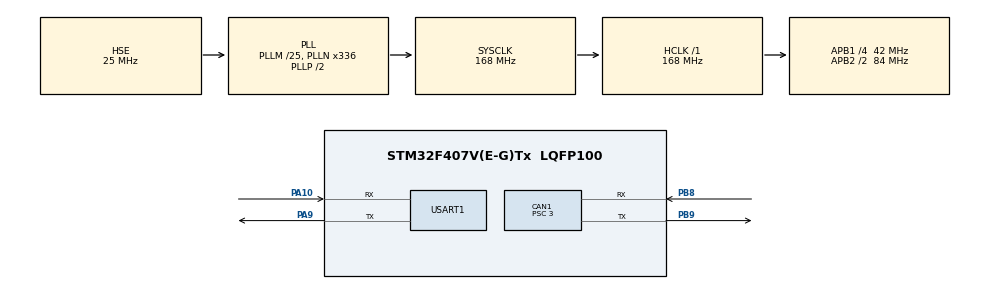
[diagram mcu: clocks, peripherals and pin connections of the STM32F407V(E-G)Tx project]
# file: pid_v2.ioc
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CAN1.ABOM=ENABLE
CAN1.BS1=CAN_BS1_11TQ
CAN1.BS2=CAN_BS2_2TQ
CAN1.CalculateBaudRate=1000000
CAN1.CalculateTimeBit=1000
CAN1.CalculateTimeQuantum=71.42857142857143
CAN1.NART=ENABLE
CAN1.Prescaler=3
Dma.Request0=USART1_RX
Dma.Request1=USART1_TX
Dma.USART1_RX.0.Direction=DMA_PERIPH_TO_MEMORY
Dma.USART1_RX.0.FIFOMode=DMA_FIFOMODE_DISABLE
Dma.USART1_RX.0.Instance=DMA2_Stream2
Dma.USART1_RX.0.MemDataAlignment=DMA_MDATAALIGN_BYTE
Dma.USART1_RX.0.MemInc=DMA_MINC_ENABLE
Dma.USART1_RX.0.Mode=DMA_NORMAL
Dma.USART1_RX.0.PeriphDataAlignment=DMA_PDATAALIGN_BYTE
Dma.USART1_RX.0.PeriphInc=DMA_PINC_DISABLE
Dma.USART1_RX.0.Priority=DMA_PRIORITY_LOW
Dma.USART1_TX.1.Direction=DMA_MEMORY_TO_PERIPH
Dma.USART1_TX.1.FIFOMode=DMA_FIFOMODE_DISABLE
Dma.USART1_TX.1.Instance=DMA2_Stream7
Dma.USART1_TX.1.MemDataAlignment=DMA_MDATAALIGN_BYTE
Dma.USART1_TX.1.MemInc=DMA_MINC_ENABLE
Dma.USART1_TX.1.Mode=DMA_NORMAL
Dma.USART1_TX.1.PeriphDataAlignment=DMA_PDATAALIGN_BYTE
Dma.USART1_TX.1.PeriphInc=DMA_PINC_DISABLE
Dma.USART1_TX.1.Priority=DMA_PRIORITY_LOW
FREERTOS.Tasks01=defaultTask,0,128,StartDefaultTask,Default,NULL,Dynamic,NULL,NULL
FREERTOS.configMAX_PRIORITIES=5
FREERTOS.configUSE_NEWLIB_REENTRANT=1
Mcu.Family=STM32F4
Mcu.Name=STM32F407V(E-G)Tx
Mcu.Package=LQFP100
NVIC.CAN1_RX0_IRQn=true\:5\:0\:false\:false\:true\:true\:true\:true\:true
NVIC.DMA2_Stream2_IRQn=true\:5\:0\:false\:false\:true\:true\:false\:true\:true
NVIC.DMA2_Stream7_IRQn=true\:5\:0\:false\:false\:true\:true\:false\:true\:true
NVIC.PriorityGroup=NVIC_PRIORITYGROUP_4
NVIC.USART1_IRQn=true\:5\:0\:false\:false\:true\:true\:false\:true\:true
PA10.Mode=Asynchronous
PA10.Signal=USART1_RX
PA13.Mode=Serial_Wire
PA13.Signal=SYS_JTMS-SWDIO
PA14.Mode=Serial_Wire
PA14.Signal=SYS_JTCK-SWCLK
PA9.Mode=Asynchronous
PA9.Signal=USART1_TX
PB8.Mode=CAN_Activate
PB8.Signal=CAN1_RX
PB9.Mode=CAN_Activate
PB9.Signal=CAN1_TX
PH0-OSC_IN.Mode=HSE-External-Oscillator
PH0-OSC_IN.Signal=RCC_OSC_IN
PH1-OSC_OUT.Mode=HSE-External-Oscillator
PH1-OSC_OUT.Signal=RCC_OSC_OUT
ProjectManager.HeapSize=0x200
ProjectManager.StackSize=0x400
ProjectManager.TargetToolchain=STM32CubeIDE
RCC.48MHZClocksFreq_Value=84000000
RCC.AHBFreq_Value=168000000
RCC.APB1CLKDivider=RCC_HCLK_DIV4
RCC.APB1Freq_Value=42000000
RCC.APB1TimFreq_Value=84000000
RCC.APB2CLKDivider=RCC_HCLK_DIV2
RCC.APB2Freq_Value=84000000
RCC.APB2TimFreq_Value=168000000
RCC.CortexFreq_Value=168000000
RCC.HCLKFreq_Value=168000000
RCC.HSE_VALUE=25000000
RCC.HSI_VALUE=16000000
RCC.LSE_VALUE=32768
RCC.PLLM=25
RCC.PLLN=336
RCC.PLLSourceVirtual=RCC_PLLSOURCE_HSE
RCC.SYSCLKFreq_VALUE=168000000
RCC.SYSCLKSource=RCC_SYSCLKSOURCE_PLLCLK
RCC.VCOOutputFreq_Value=336000000
USART1.VirtualMode=VM_ASYNC
VP_FREERTOS_VS_CMSIS_V1.Mode=CMSIS_V1
board=custom

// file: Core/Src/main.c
/* USER CODE BEGIN Header */
/**
  ******************************************************************************
  * @file           : main.c
  * @brief          : Main program body
  ******************************************************************************
  * @attention
  *
  * Copyright (c) 2026 STMicroelectronics.
  * All rights reserved.
  *
  * This software is licensed under terms that can be found in the LICENSE file
  * in the root directory of this software component.
  * If no LICENSE file comes with this software, it is provided AS-IS.
  *
  ******************************************************************************
  */
/* USER CODE END Header */
#include "main.h"
#include "cmsis_os.h"
#include "can.h"
#include "dma.h"
#include "usart.h"
#include "gpio.h"

/* USER CODE BEGIN Includes */
#include <string.h>
#include <stdlib.h>
#include <math.h>
/* USER CODE END Includes */

/* USER CODE BEGIN PTD */
/* ============================================================================
 *  pid_v2 —— M3508 P19 + C620 单轴位置伺服
 *  ---------------------------------------------------------------------------
 *  结构（从外到内，每 1ms 跑一拍）：
 *
 *      目标角度 -->[参考轨迹整形]--> ref_pos / ref_vel
 *                                      |
 *                                      v
 *      实测输出角 -->[位置环 P + 速度前馈/阻尼]--> 速度指令
 *                                      |
 *                                      v
 *      实测转速   -->[速度环 PID + 前馈]--> 电流指令 --> C620 (0x200)
 *
 *  三条针对「电机抖」的设计，缺一不可：
 *    1) 参考轨迹整形：目标不直接给位置环，而是先过一条加速度受限、
 *       带制动曲线、单步不越目标的轨迹。位置环跟的是一条平滑曲线，
 *       不会因为目标跳变打出电流尖峰。
 *    2) 微分对测量值求导：d 项用 -Kd×(本次转速 - 上次转速)，
 *       而不是对误差求导，彻底消除 derivative kick。
 *    3) 到位保持状态机：误差进入 ±pos_db 后位置环 P 清零，只留一条
 *       「慢积分」把保持电流调到刚好顶住负载。这是压掉静摩擦粘滑极限环的
 *       关键——只加死区不够，积分器里残留的量还会把电机推出死区。
 *
 *  实测指标（500Hz 录波，默认参数，M3508 P19 + C620）：
 *    上升时间 10-90%   : 44 ms (20°) / 50 ms (25°) / 66 ms (45°)
 *                        92 ms (90°)
 *    超调量           : ≤ 0.20 %
 *    调节时间 ±0.1°   : 126~292 ms
 *    稳态误差         : ≤ 0.055°
 *    双向重复精度     : ≤ 0.07°（同一角度从两侧逼近的落点差）
 *    到位静置抖动     : 8 个位置 × 3 轮共 24 次测量，多数 0.0000°，
 *                       最差 0.074°（27 个细计数，周期约 1s 的极慢蠕动）
 *
 *  串口（USART1, 115200 8N1）命令，全部以 '!' 结尾：
 *    =角度!        设定目标角度（度，0~359）
 *    $名字=值!     在线改参数，立即生效，见 param_tbl[]
 *    $wave=0..3!   切换波形通道组
 *  波形按 VOFA+ JustFloat 协议，2 通道 × float32 小端 + 帧尾 00 00 80 7F
 * ==========================================================================*/

/* ============================================================================
 *  运行状态变量
 *  ---------------------------------------------------------------------------
 *  坐标系约定（与上一版一致，改动它会让上位机的角度含义全部错位）：
 *    · 「转子角度」由 C620 上报，0~8191 对应转子机械一圈；
 *    · 「输出轴角度」= 转子累计角度 ÷ 减速比，再对 8192 取模，
 *      0~8191 对应减速后的 0~360°，8192 个 count 铺满输出轴一整圈；
 *    · 上电瞬间的输出轴角度被定义为 0°，即整个坐标系是「相对上电位置」的，
 *      所以上电后目标默认为 0 就等于「原地保持」，不会突然窜到别处。
 * ==========================================================================*/

/* ---------- 1. 电机反馈（每 1ms 由 0x203 帧刷新）---------- */
static int16_t jiao_du = 0;     /* 转子机械角度：0~8191，8192 = 转子转一圈 */
static int16_t su_du   = 0;     /* 转子转速：rpm，正负号表示转向 */

/* ---------- 2. 角度换算：转子 -> 输出轴 ---------- */
static int64_t rotor_total = 0; /* 转子累计角度（count），只用来算输出轴角度，
                                 * 不参与位置环。跨圈时靠它保证不丢圈。
                                 * 用 64 位：int32 在 3000rpm 下连续转约 87 分钟
                                 * 就会溢出，溢出后角度跳变，位置环失控 */
static int16_t rotor_last  = 0; /* 上一拍的转子原始角度，用来算这一拍转了多少 */
static int16_t out_angle   = 0; /* 输出轴单圈角度：0~8191 对应 0~360° */
static int32_t out_cnt32   = 0; /* 输出轴连续角度（int32 截断域）。
                                 * 取 int32 而不是直接用 int64：控制环里所有位置量
                                 * 都落在同一个 32 位域里，相减不会出现 64 位跨字
                                 * 读写的原子性问题，跨圈时差值依然正确。
                                 * 输出轴连续转 28 小时才会溢出，位置伺服不会走到那 */

/* ---------- 3. 目标与参考轨迹 ---------- */
static volatile int32_t target_raw = 0; /* 目标输出轴角度（count），0~8191。
                                 * UART 中断里写、控制任务里读，必须 volatile */
static int32_t target_cnt = 0;  /* 与 out_cnt32 同一域的「最近等价目标」。
                                 * 目标 350°、当前 10° 时不会傻走 -340°，
                                 * 而是在连续域里落到 +20° 那一侧 */
static int32_t target_seen = -1;/* 上一次处理过的 target_raw，用来检测新命令 */

static float ref_pos = 0.0f;    /* 参考位置（输出轴 count，float 保留小数，
                                 * 否则每拍增量不足 1 count 时会被截断成 0 而卡死） */
static float ref_vel = 0.0f;    /* 参考速度（转子 rpm），由轨迹发生器给出 */

/* ---------- 4. 可在线整定的参数 ---------- */
/* 全部做成 float 并集中在一张表里，串口按名字改，改完立即生效，不用重新烧录。
 * 表见下方 param_tbl[]，合法范围也写在那里面，越界值会被夹到边界而不是拒绝。 */
static float pos_Kp    = 0.75f;   /* 位置环比例：rpm / (1/16 输出轴count)。
                                   * 等效于旧单位下的 12 rpm/count */
static float pos_Kd    = 0.5f;    /* 位置环速度增益：对「参考速度 - 实测转速」加权。
                                   * 参考速度归零后它就退化成上一版的 -Kd×实测转速，
                                   * 也就是纯阻尼项，治到点后来回振荡 */
static float speed_max = 3000.0f; /* 位置环输出的速度指令上限（rpm） */

static float speed_Kp  = 15.0f;   /* 速度环比例：电流count / rpm。
                                   * 实测 6 → 调节时间 734ms，15 → 164ms，
                                   * 28 开始振荡（超调 3.4%），15~20 是安全区 */
static float speed_Kd  = 20.0f;   /* 速度环微分：抑制超调。12 → 164ms，20 → 158ms，
                                   * 再大没有收益 */
static float speed_Ki  = 0.15f;   /* 速度环积分：每 1ms、每 1rpm 误差贡献的电流count。
                                   * 按 CTRL_PERIOD_MS 标定，改周期必须重调。
                                   * 这个值决定「到位后最后 0.1° 收得多快」：
                                   * 0.008 时要 1668ms 才爬进去（静摩擦粘滑）。
                                   * 实测 0.08 / 0.15 / 0.25 三档，调节时间几乎一样
                                   * （144~298ms），差别全在「静置后还会不会动」：
                                   *   0.08 → 残余 1~7 个细计数的蠕动（0.02°）
                                   *   0.15 → 8 位置全部 0.0000°，稳态误差也略小
                                   *   0.25 → 抖动仍是 0，但调节时间变长，无收益
                                   * 取 0.15。上一版「0.05 就会振荡」的结论只对
                                   * 旧结构成立——那时光滑轨迹整形和到位保持都还没有 */
static float speed_Kf  = 0.0f;    /* 速度前馈：电流count / rpm。
                                   * 直接按目标转速给一份电流，把积分项从「顶住摩擦」
                                   * 的活里解放出来。默认关闭，识别出摩擦量级后再开 */
static float i_max     = 3000.0f; /* 积分项单独限幅，防止累到退不回来 */
static float cur_max   = 8000.0f; /* 电流总限幅，约 ±9.8A（16384 = 20A） */

static float prof_v    = 3000.0f; /* 轨迹速度上限（rpm），一般等于 speed_max */
static float prof_a    = 50000.0f;/* 轨迹加速度上限（rpm/s）。这是「快而不冲」的总闸门：
                                   * 调大=更激进，调小=更柔和。它同时决定
                                   * 减速从多远开始——制动距离 = v²/(2a) */
static float prof_en   = 1.0f;    /* 轨迹整形开关：1=启用，0=目标直通（退化成阶跃） */
static float pos_db    = 0.02f;   /* 到位死区（度）。只在轨迹已经走完时生效：
                                   * 误差小于它就进入「保持」，位置环输出清零。
                                   * 不加这个，小误差区靠积分慢慢顶，顶过静摩擦就
                                   * 蹦一下，形成 0.1° 量级、周期几百毫秒的往复——
                                   * 也就是「电机在抖」。死区把积分饿死，电机停住不动。
                                   * 代价是稳态误差被限制在 ±3×pos_db 以内（迟滞带） */
static float hold_ki    = 0.005f;  /* 保持期「位置积分」增益：每 1ms、每 1 个细计数误差，
                                   * 给保持电流加多少 count。
                                   * 为什么保持期还要积分：维持静止所需的电流随
                                   * 负载变化（实测 0° 要几百 count，180° 只要几十），
                                   * 而进保持瞬间的积分值是「刚顶开静摩擦」的电流，
                                   * 比需要的多，直接冻住就会推着电机慢慢爬出去。
                                   * 所以让位置误差自己去调这个电流——多了误差变负、
                                   * 电流自己降下来，少了误差变正、电流自己补上去。
                                   * 关键是慢：慢到电流变化本身激不起抖动 */
static float hold_rt    = 0.60f;  /* 进保持瞬间，把积分值一次性乘上这个系数。
                                   * 进保持时 i_term 是「刚顶开静摩擦」的电流
                                   * （= 负载 + 静摩擦），维持静止只需要负载。
                                   * 先按比例砍一刀，让电流一步落到目标附近，
                                   * 剩下的残差交给下面的慢积分去修——
                                   * 这样慢积分不用长途跋涉，也就不会振荡。
                                   * 1.0 = 不砍（慢积分要自己从顶开值降下来，会振荡） */
static float hold_rmax  = 0.75f;  /* 保持期电流变化率上限（count/ms）。
                                   * 它决定这个慢积分会不会自己变成振荡器：
                                   * 变化率 × 机械响应延迟 = 电流过冲量，
                                   * 只要过冲量小于静摩擦，电机就不会动 */
static float wave_sel  = 0.0f;    /* 波形通道组：0=误差/角度 1=速度指令/实测 2=参考/实际 3=电流/转速 4=积分/电流 */

/* ---------- 5. 运行时状态 ---------- */
static float   i_term     = 0.0f; /* 速度环积分累加器 */
static int16_t speed_cmd  = 0;    /* 位置环输出，也就是给速度环的目标转速（rpm） */
static int16_t cur_out    = 0;    /* 本拍下发的电流指令，调试时看它 */
static int16_t speed_prev = 0;    /* 上一拍实测转速，速度环微分用 */
static float   pos_err    = 0.0f; /* 目标 - 实际（1/16 count），只用于波形显示。
                                   * 必须是 float：满量程 4096×16 会溢出 int16 */

static uint16_t fb_age_ms = 0;    /* 距离上一帧 CAN 反馈过去了多少 ms */
static uint8_t  fb_seen   = 0;    /* 是否收到过至少一帧反馈 */
static uint8_t  ang_init  = 0;    /* 角度基准是否已对齐到首帧真实反馈 */
static uint8_t  ctrl_init = 0;    /* 控制环是否已完成首拍初始化 */
static uint8_t  prof_done = 0;    /* 参考轨迹是否已停在目标上（用于到位死区） */
static uint8_t  hold_state = 0;   /* 到位保持状态：进入后位置环 P 清零，只留慢积分调保持电流 */

/* ---------- 6. 串口命令接收（全在中断里用）---------- */
static uint8_t rxByte;          /* UART 中断里收到的单个字节 */
static uint8_t rxBuf[32];       /* 命令帧缓冲 */
static uint8_t rxLen = 0;       /* 已接收的字节数 */

/* ---------- 7. 波形输出 ---------- */
static volatile uint8_t uart_busy = 0; /* 波形发送忙标志：中断发送还没完成时不能重填缓冲 */
static uint8_t  jf[12];         /* JustFloat 发送缓冲：2 通道 x 4 字节 + 4 字节帧尾 */

/* ---------- 8. CAN 发送帧（每 1ms 一次）---------- */
/* 提到文件作用域是为了避免每 1ms 在栈上重新构造一次结构体 */
static CAN_TxHeaderTypeDef txHeader;
static uint32_t            txMailbox;

/* ---------- 9. 参数表 ---------- */
typedef struct
{
  const char *name;   /* 串口里用的名字，区分大小写 */
  float      *addr;   /* 指向真正的变量 */
  float       lo;     /* 下限，越界自动夹住 */
  float       hi;     /* 上限 */
} ParamEntry;

static const ParamEntry param_tbl[] =
{
  /*  名字      变量        下限      上限    */
  { "posKp",  &pos_Kp,     0.0f,     20.0f  },
  { "posKd",  &pos_Kd,     0.0f,     10.0f  },
  { "spdMax", &speed_max,  0.0f,   9000.0f  },
  { "spdKp",  &speed_Kp,   0.0f,    100.0f  },
  { "spdKd",  &speed_Kd,   0.0f,    100.0f  },
  { "spdKi",  &speed_Ki,   0.0f,      0.5f  },
  { "spdKf",  &speed_Kf,   0.0f,     10.0f  },
  { "iMax",   &i_max,      0.0f,  16384.0f  },
  { "curMax", &cur_max,    0.0f,  16384.0f  },
  { "profV",  &prof_v,     1.0f,   9000.0f  },
  { "profA",  &prof_a,   100.0f, 200000.0f  },
  { "profEn", &prof_en,    0.0f,      1.0f  },
  { "posDb",  &pos_db,     0.0f,      1.0f  },
  { "holdKi", &hold_ki,    0.0f,      0.2f  },
  { "holdRt", &hold_rt,    0.0f,      1.0f  },
  { "holdRm", &hold_rmax,  0.1f,     20.0f  },
  { "wave",   &wave_sel,   0.0f,      4.0f  },
};
#define PARAM_N  (sizeof(param_tbl) / sizeof(param_tbl[0]))

/* USER CODE END PTD */

/* USER CODE BEGIN PD */
/* ============================================================================
 *  硬件与协议常量（一般不需要改动）
 * ==========================================================================*/
#define ENC_PER_REV   8192      /* 编码器每圈计数（转子），2^13 = 8192 */
#define ENC_HALF      4096      /* 半圈计数。角度差超过它说明绕远了，要往反方向走 */

/* ----------------------------------------------------------------------------
 *  输出轴角度的内部精度：以 1/OUT_FINE 个输出 count 为单位
 *  ---------------------------------------------------------------------------
 *  8192 个 count 铺满输出轴一圈，分辨率只有 0.044°。
 *  但转子编码器经 19.2 倍减速折算到输出轴是 8192 × 19.2 ≈ 157286 个 count/圈，
 *  物理分辨率 0.0023°。直接用整数输出 count 等于把 19 倍的精度白白扔掉，
 *  稳态误差会被卡死在 ±1 count（±0.044°）——实测重复定位精度正好就是这个数。
 *
 *  取 16 是折中：分辨率提到 0.0027°，误差量化带来的抖动降到原来的 1/16，
 *  而 int32 在 8192×16 = 131072 count/圈的尺度下仍能连续转 100 分钟不溢出。
 *  位置环增益的数值要同比缩小 16 倍（pos_Kp: 12 → 0.75），物理含义不变。
 * --------------------------------------------------------------------------*/
#define OUT_FINE      16
#define POS_PER_REV   (ENC_PER_REV * OUT_FINE)   /* 131072 */
#define POS_HALF      (ENC_HALF * OUT_FINE)      /* 65536  */

#define GEAR_NUM      187       /* 减速比分子：输出轴角度 = 转子角度 × 187 / 3591 */
#define GEAR_DEN      3591      /* 减速比分母，187 / 3591 ≈ 1 : 19.203 */

#define C620_TX_ID    0x200     /* 1~4 号电机的电流指令帧 ID，8 字节分给 4 个电机 */
#define C620_FB_ID_M3 0x203     /* 3 号电机的反馈帧 ID，本工程只挂了一个电机 */

#define CTRL_PERIOD_MS   1      /* 控制环周期（ms）。积分增益 speed_Ki 是按这个周期
                                 * 标定的，改这里必须重新整定 speed_Ki */
#define JF_PERIOD_MS     2      /* 波形发送周期（ms）。12 字节 @115200 要 1.04ms，
                                 * 用中断非阻塞发送，不占主循环时间 */
#define FB_TIMEOUT_MS    20     /* 反馈超时门限（ms）。C620 每 1ms 主动发一帧，
                                 * 连续 20 拍收不到就判定掉线，立刻撤电流 */

/* ----------------------------------------------------------------------------
 *  单位换算：转子 rpm  <->  输出轴 count/ms
 *  ---------------------------------------------------------------------------
 *  输出轴转速(rpm) = 转子 rpm / 19.203
 *  输出轴 count/s  = 输出轴转速 × 8192 / 60
 *  所以 1 rpm 的转子转速 = 8192 × 187 / (3591 × 60 × 1000) ≈ 0.00711 count/ms
 *  编译器会把这一串常量折叠成单个浮点数，运行时不产生除法
 * --------------------------------------------------------------------------*/
#define RPM_TO_CNT_PER_MS  ((float)POS_PER_REV * (float)GEAR_NUM / ((float)GEAR_DEN * 60000.0f))

/* 制动曲线系数：由 v[rpm] 反推「刚好停在 e 个 count 外」所需的速度
 *   v = sqrt(2 · a · e · BRAKE_K)
 * 推导：制动距离 = v_cnt² / (2 · a_cnt)，把 count/ms 与 rpm 的换算代进去即得 */
#define BRAKE_K  (1.0f / (RPM_TO_CNT_PER_MS * 1000.0f))
/* USER CODE END PD */

void SystemClock_Config(void);
void MX_FREERTOS_Init(void);
/* USER CODE BEGIN PFP */
static void Parse_Frame(const uint8_t *data, uint16_t size);
static void Apply_Param(const uint8_t *data, uint16_t size);
static void ReadMotorFeedback(void);
static void UpdateOutputAngle(void);
static void Profile_Step(void);
static void Control_Step(void);
static void C620_SendCurrent(int16_t current);
static void Waveform_Send(void);
void out(void *argument);
void fa_song(void *argument);
/* USER CODE END PFP */

/* USER CODE BEGIN 0 */

/**
  * @brief  解析一帧完整的串口命令（以 '!' 结尾）
  * @param  data 帧缓冲，data[0] 是首字符
  * @param  size 帧长度（含 '!'）
  * @note   支持两种帧，靠首字符区分，互不干扰：
  *
  *           1) 角度命令 —— 兼容上一版的 VOFA+ 控件，格式不变
  *                "=90!"        或   "Kp=90!"（'=' 前面的内容一律忽略）
  *              数值单位是「度」，指减速后输出轴的角度，范围 0 ~ 359.99
  *
  *           2) 参数命令 —— 新增，用来在线改增益
  *                "$posKp=8.0!"  "$profA=30000!"  "$wave=1!"
  *              名字区分大小写，见 param_tbl[]
  *
  *         用 '$' 做前缀是因为它不可能出现在数值里，而 '=' 必须留给角度命令，
  *         否则老的上位机控件发来的 "=90!" 会被当成参数命令而失效。
  *
  *         本函数在 UART 中断里被调用，只做纯计算，不调用任何阻塞接口。
  */
static void Parse_Frame(const uint8_t *data, uint16_t size)
{
  /* ---- 帧完整性：最少 "=1!" 三个字节，且必须以 '!' 收尾 ---- */
  if ((size < 3) || (data[size - 1] != '!'))
  {
    return;
  }

  /* ---- 分支一：参数命令 ---- */
  if (data[0] == '$')
  {
    Apply_Param(data, size);
    return;
  }

  /* ---- 分支二：角度命令。找 '='，数值从它后面一个字节开始 ---- */
  int startIdx = -1;
  for (int i = 0; i < (int)size; i++)
  {
    if (data[i] == '=')
    {
      startIdx = i + 1;
      break;
    }
  }
  if (startIdx < 0)
  {
    return;                          /* 没有 '=' */
  }

  char valueStr[24] = {0};           /* VOFA+ 用 %f 时发出来的是 "180.000000"
                                      * 这种 10 字符文本，加结束符要 11 字节，
                                      * 留 24 才够宽裕 */
  int len = (int)size - 1 - startIdx;
  if ((len <= 0) || (len >= (int)sizeof(valueStr)))
  {
    return;                          /* 数值为空，或者太长，防止 valueStr 越界 */
  }

  memcpy(valueStr, &data[startIdx], (size_t)len);
  valueStr[len] = '\0';

  char *endp = NULL;
  float PIDpara = strtof(valueStr, &endp);
  if (endp == valueStr)
  {
    return;                          /* "=abc!" 这种不是数字，整帧丢弃。
                                      * 否则 strtof 返回 0，电机会被瞬间拉回零点 */
  }

  /* ---- 合法性检查后写入目标角度（度 -> count）----
   * 范围 0 ~ 360，对应输出轴（减速后）转一整圈。
   * 超出范围就整帧丢弃、不改目标 —— 这样上位机格式填错时
   * 电机只会保持原位，不会突然跑到别的地方去。 */
  if ((PIDpara >= 0.0f) && (PIDpara < 360.0f))
  {
    float cnt_f = PIDpara * ((float)POS_PER_REV / 360.0f);

    target_raw = (int32_t)(cnt_f + 0.5f);   /* 四舍五入到最近的 1/16 count */
  }
}

/**
  * @brief  解析并应用 "$name=value!" 形式的参数命令
  * @param  data 帧缓冲，data[0] 必定是 '$'
  * @param  size 帧长度（含 '!'）
  * @note   名字在表里找不到就整帧丢弃（静默），数值越界则夹到边界。
  *         不做回显：串口上正在跑 JustFloat 二进制波形，混进 ASCII 会把
  *         VOFA+ 的分帧打乱。改没改成功，看波形响应即可。
  */
static void Apply_Param(const uint8_t *data, uint16_t size)
{
  char name[16];
  char val[16];
  uint16_t i = 1;                    /* 跳过 '$' */
  uint16_t n = 0;
  uint16_t m = 0;

  /* ---- 取名字：从 '$' 之后到 '=' 之前 ---- */
  while ((i < size) && (data[i] != '=') && (data[i] != '!'))
  {
    if (n < (uint16_t)(sizeof(name) - 1))
    {
      name[n++] = (char)data[i];
    }
    i++;
  }
  name[n] = '\0';

  if ((i >= size) || (data[i] != '='))
  {
    return;                          /* 没有 '='，不是参数命令 */
  }

  /* ---- 取数值：从 '=' 之后到 '!' 之前 ---- */
  i++;
  while ((i < size) && (data[i] != '!'))
  {
    if (m < (uint16_t)(sizeof(val) - 1))
    {
      val[m++] = (char)data[i];
    }
    i++;
  }
  val[m] = '\0';

  char *endp = NULL;
  float v = strtof(val, &endp);
  if (endp == val)
  {
    return;                          /* 数值部分不是数字 */
  }

  /* ---- 查表并写入 ---- */
  for (uint16_t k = 0; k < PARAM_N; k++)
  {
    if (strcmp(name, param_tbl[k].name) == 0)
    {
      if (v < param_tbl[k].lo) v = param_tbl[k].lo;
      if (v > param_tbl[k].hi) v = param_tbl[k].hi;
      *param_tbl[k].addr = v;
      return;
    }
  }
}

/**
  * @brief  读电机反馈：把 CAN FIFO 里积压的 0x203 帧全部取完，只保留最后一帧
  * @note   C620 每 1ms 主动发一帧，8 个字节的含义：
  *           d[0..1]  转子机械角度（0~8191，大端）
  *           d[2..3]  转子转速 rpm（int16，大端）
  *           d[4..5]  实际电流   d[6] 温度   d[7] 保留
  *         FIFO 只有 3 帧深，必须每拍排空，攒着不取就会溢出丢帧。
  *
  *         顺带把 fb_age_ms 清零——它是掉线保护的计时器，
  *         只要这一拍真的收到帧，就说明链路还活着。
  */
static void ReadMotorFeedback(void)
{
  CAN_RxHeaderTypeDef rx;
  uint8_t d[8];

  while (HAL_CAN_GetRxFifoFillLevel(&hcan1, CAN_RX_FIFO0) > 0)
  {
    if (HAL_CAN_GetRxMessage(&hcan1, CAN_RX_FIFO0, &rx, d) != HAL_OK)
    {
      break;                       /* 读失败就退出，避免在 while 里死循环 */
    }

    if ((rx.StdId == C620_FB_ID_M3) && (rx.DLC >= 8))
    {
      jiao_du = (int16_t)(((uint16_t)d[0] << 8) | d[1]);
      su_du   = (int16_t)(((uint16_t)d[2] << 8) | d[3]);

      fb_seen   = 1;
      fb_age_ms = 0;
    }
  }
}

/**
  * @brief  转子角度 -> 输出轴角度
  * @note   jiao_du 是单圈值，转一圈就从 8191 跳回 0。
  *         直接相减会在跳变那一刻算出一个巨大的假增量，所以先累加成连续值：
  *         增量超过半圈（±4096）就说明发生了回绕，往反方向补一圈修正。
  *
  *         输出轴（减速后）角度 = 转子累计角度 ÷ 减速比，再对 8192 取模，
  *         得到输出轴自己的 0~8191 单圈角度 —— 这才是"减速过的 0~360 度"。
  *         取模是对「输出轴」取的，不是对转子取的：
  *         8192 个 count 铺满的是输出轴一整圈（转子得转 19.2 圈才走完）。
  *
  *         本函数必须每拍都跑：它靠相邻两拍的差值累加，
  *         一旦被跳过就会漏掉中间的转动，rotor_total 越跑越偏。
  */
static void UpdateOutputAngle(void)
{
  /* 还没收到过任何一帧反馈时不能对齐基准：
   * 此时 jiao_du 仍是初值 0，拿它当基准会让整个坐标系偏掉一大截，
   * 之后所有的角度读数都会带着这个固定偏移 */
  if (!fb_seen)
  {
    return;
  }

  if (!ang_init)
  {
    rotor_last  = jiao_du;         /* 首拍：把基准对齐到电机当前的实际角度 */
    rotor_total = 0;
    out_cnt32   = 0;
    out_angle   = 0;
    ang_init    = 1;
    return;                        /* 这一拍只建基准，不产生增量 */
  }

  int16_t delta = jiao_du - rotor_last;
  if (delta >  ENC_HALF) delta -= ENC_PER_REV;   /* 正向跨过 8191 -> 0 */
  if (delta < -ENC_HALF) delta += ENC_PER_REV;   /* 反向跨过 0 -> 8191 */

  rotor_total += delta;
  rotor_last   = jiao_du;

  /* 直接在细计数域做除法，一步到位。
   *
   * 注意不能先算整数输出 count 再乘 16：那样只是给整数补了 16 个零，
   * out_cnt32 永远是 16 的倍数，分辨率仍旧是 0.044°，等于白改。
   * 必须把 ×OUT_FINE 乘进被除数里，让除法本身产生小数部分。
   *
   * 而且必须做「向下取整」而不是 C 默认的「向零取整」：
   * 反方向转时 rotor_total 为负，-1.5 会被截成 -1，位置就比真实值多算半个
   * count，目标落域时会稳定偏 0.02° 量级。判余数符号再补一，才是真正的 floor */
  int64_t num  = rotor_total * GEAR_NUM * OUT_FINE;
  int64_t fine = num / GEAR_DEN;
  if ((num % GEAR_DEN) < 0) fine--;

  out_cnt32 = (int32_t)fine;       /* 细计数域，控制环只用这个 */

  /* 单圈角度只用于显示，同样向下取整 */
  int64_t whole = fine / OUT_FINE;
  if ((fine % OUT_FINE) < 0) whole--;

  out_angle = (int16_t)(whole % ENC_PER_REV);
  if (out_angle < 0) out_angle += ENC_PER_REV;   /* 反向转时取模为负，补成正的 */
}

/**
  * @brief  参考轨迹发生器：把阶跃目标变成「加速度受限」的平滑轨迹
  * @note   这是本版相对上一版最大的结构改动，也是"超调小"的主要来源。
  *
  *         为什么不能把阶跃目标直接喂给位置环：
  *         位置环输出的是速度指令。目标一跳变，速度指令瞬间顶到上限，
  *         电机以最大加速度冲出去；等误差小到该减速时，速度环还有滞后，
  *         实际转速降不下来，于是冲过头，再反向拉回来——超调就是这么来的。
  *         想靠调大 pos_Kd 压住它，代价是全程都被刹着，上升变慢。
  *
  *         正确做法是让「参考」本身就满足执行器的能力：
  *           · 速度不超过 prof_v；
  *           · 加速度不超过 prof_a；
  *           · 减速按制动曲线提前开始，误差归零时速度也正好归零。
  *         位置环只需要跟踪这条参考，永远不会被要求做做不到的事，
  *         于是「快」和「不冲」不再矛盾。
  *
  *         制动曲线 v = sqrt(2·a·e) 是匀减速下的精确解，
  *         比"线性比例减速"好在：后者在高速接近时会算错减速起点，
  *         参考自己就先冲过目标，位置环再跟着冲，超调照样发生。
  */
static void Profile_Step(void)
{
  /* 整形关闭：目标直通，退化成上一版的阶跃响应，方便对比 */
  if (prof_en < 0.5f)
  {
    ref_pos   = (float)target_cnt;
    ref_vel   = 0.0f;
    prof_done = 1;
    return;
  }

  float err = (float)target_cnt - ref_pos;

  prof_done = 0;                   /* 只要参考还没停稳，就还在运动过程中 */

  /* 制动曲线给出的"当前该有的速度"，再受 prof_v 封顶 */
  float v_des = sqrtf(2.0f * prof_a * fabsf(err) * BRAKE_K);
  if (v_des > prof_v)
  {
    v_des = prof_v;
  }
  if (err < 0.0f)
  {
    v_des = -v_des;
  }

  /* 加速度限幅：1ms 内速度最多变化 prof_a/1000 rpm */
  float dvmax = prof_a * 0.001f;
  float dv    = v_des - ref_vel;
  if (dv >  dvmax) dv =  dvmax;
  if (dv < -dvmax) dv = -dvmax;
  ref_vel += dv;

  /* 参考位置积分一步：rpm × (count/ms per rpm) = count */
  float step_cnt = ref_vel * RPM_TO_CNT_PER_MS;

  /* 单步不允许越过目标。
   * 制动曲线是连续域的精确解，但这里是 1ms 的离散积分——速度在整个步长内
   * 被当成常数，高速时一步就走 21 个 count（约 0.94°），足够直接跨过目标，
   * 于是参考自己先超调了，位置环跟着超调。
   * 把这一步的位移夹到剩余距离以内，超调就从根上消失 */
  if (fabsf(step_cnt) > fabsf(err))
  {
    step_cnt = err;
    ref_vel  = err / RPM_TO_CNT_PER_MS;
  }
  ref_pos += step_cnt;

  /* 到位判定：误差不足 1 个 count 且这一拍就能停住，直接把参考钉在目标上。
   * 不这么做的话，sqrt 曲线在 e→0 时会退化成每拍半个 count 的微小往复，
   * 参考自己在抖，位置环就会跟着抖出 0.04° 量级的毛刺 */
  if ((fabsf((float)target_cnt - ref_pos) < 1.0f) && (fabsf(ref_vel) < dvmax))
  {
    ref_pos   = (float)target_cnt;
    ref_vel   = 0.0f;
    prof_done = 1;
  }
}

/**
  * @brief  控制环走一步：轨迹整形 -> 位置环 -> 速度环 -> 发电流
  * @note   由 out() 按固定 CTRL_PERIOD_MS 节拍调用。
  *
  *         为什么必须固定节拍：
  *         PD 只看当前值，周期抖了无非响应快慢不均；
  *         但积分是"误差 × 时间"的累加，周期一变，speed_Ki 就失去了
  *         时间含义——同一个 Ki 在不同周期下积分速度能差好几倍。
  */
static void Control_Step(void)
{
  /* 先加，再由 ReadMotorFeedback 清零。
   * 到门限就停住不再往上加：它是 uint16，无脑自增 65 秒后会回绕到 0，
   * 于是"掉线"状态每 65 秒被解除一次，白给 20ms 的乱输出。
   * 夹在门限上方一位，既不回绕，也保证判定条件始终成立 */
  if (fb_age_ms <= FB_TIMEOUT_MS)
  {
    fb_age_ms++;
  }

  /* ======================================================================
   *  0. 上电与掉线保护
   *  ---------------------------------------------------------------------
   *  没收到过反馈就绝不下发电流：此时角度是假的，闭环会朝着错误的方向
   *  顶满电流。同理，反馈断了 20ms 还继续按老数据算，等于开环盲推。
   * ====================================================================*/
  if (!ang_init)
  {
    C620_SendCurrent(0);
    cur_out = 0;
    return;
  }

  if (fb_age_ms > FB_TIMEOUT_MS)
  {
    /* 掉线：撤电流、清积分、把参考钉在当前实际位置。
     * 同时把目标改成当前位置——链路恢复后原地保持，
     * 而不是突然冲回掉线前那个可能已经过期的目标 */
    i_term      = 0.0f;
    ref_pos     = (float)out_cnt32;
    ref_vel     = 0.0f;
    target_cnt  = out_cnt32;

    /* 目标改写成当前位置的单圈值，全在细计数域，避免量化偏差 */
    int32_t cur_mod = out_cnt32 % POS_PER_REV;
    if (cur_mod < 0) cur_mod += POS_PER_REV;
    target_raw  = cur_mod;
    target_seen = cur_mod;
    ctrl_init   = 0;                /* 让微分基准在恢复后重新对齐，
                                     * 否则第一拍的 (su_du - 旧speed_prev)
                                     * 会打出一记电流尖峰 */
    cur_out     = 0;
    C620_SendCurrent(0);
    return;
  }

  if (!ctrl_init)
  {
    speed_prev = su_du;             /* 首拍微分基准对齐到实测转速，
                                     * 否则 (su_du - 0) 会打出一记电流尖峰 */
    ctrl_init  = 1;
  }

  /* ======================================================================
   *  1. 目标更新：把 0~8191 的单圈目标落到连续域
   *  ---------------------------------------------------------------------
   *  只在新命令到达时才重算，避免每拍都做一次取模判断。
   *  走最短路径：从 350° 去 10°，直接相减得 -340°，照着走要反向绕一大圈；
   *  归一化后变成 +20°，正向走过去就到
   * ====================================================================*/
  int32_t tgt = target_raw;         /* volatile 只读一次，防止中途被中断改掉 */

  if (tgt != target_seen)
  {
    target_seen = tgt;

    /* 归一化必须全程在细计数域里做。
     * 用 out_angle（已量化到整数输出 count）去减会丢掉小数部分，
     * 目标落域后仍带着最多 15 个细 count 的偏差（0.04°），
     * 前面把分辨率提到 16 倍就白做了。
     * 这里直接对细计数的当前位置取单圈模，保留全部精度 */
    int32_t cur_mod = out_cnt32 % POS_PER_REV;
    if (cur_mod < 0) cur_mod += POS_PER_REV;

    int32_t delta = tgt - cur_mod;
    if (delta >  POS_HALF) delta -= POS_PER_REV;
    if (delta < -POS_HALF) delta += POS_PER_REV;

    target_cnt = out_cnt32 + delta;
  }

  /* ======================================================================
   *  2. 参考轨迹
   * ====================================================================*/
  Profile_Step();

  /* ======================================================================
   *  3. 位置环（外环）
   *  ---------------------------------------------------------------------
   *  输入：参考位置与实际位置之差
   *  输出：速度指令，交给内环执行
   *
   *  为什么不让电流直接控位置？
   *  位置是速度的积分。直接控电流的话，冲到目标时速度还很高，
   *  惯性会带着它冲过头，然后反向再来一次，来回振荡。
   *  套一层速度环之后，"到点该减速"这件事就由内环负责了。
   *
   *  为什么位置环只用 P？
   *  位置环里的 I 会让整个系统变成双积分（它本身就在积分速度），必然振荡。
   *  稳态余差交给内环的积分去消。
   *
   *  第二项 pos_Kd × (参考速度 - 实测转速) 是速度前馈 + 阻尼的合体：
   *    · 运动过程中 参考速度 ≠ 0，它给出与参考速度同向的加速指令，
   *      让实际转速主动跟住参考，而不是等误差积累出来才反应；
   *    · 参考到位后 参考速度归零，它退化成 -pos_Kd × 实测转速，
   *      也就是上一版那个治"到点来回振荡"的阻尼项。
   *  一个公式覆盖两种工况，不需要切换。
   *
   *  先算成 float 再限幅，最后才转 int16。
   *  顺序反了会出事：pos_Kp 一旦调大，乘积超过 int16 上限会变负数，
   *  电机直接朝反方向狂转
   * ====================================================================*/
  float ref_err = ref_pos - (float)out_cnt32;

  /* ======================================================================
   *  到位保持（带迟滞）
   *  ---------------------------------------------------------------------
   *  电机在目标附近静止时，位置环只能输出很小的速度指令，速度环要顶开
   *  静摩擦只能靠积分慢慢攒。攒够了就蹦一下，蹦过头再反向攒一次——
   *  这就是「电机在抖」的物理来源，周期几百毫秒、幅度 0.1° 量级。
   *
   *  只加死区不够：误差清零了，但积分器里还留着上一轮攒下的量，
   *  它会把电机推出死区，于是循环照旧。所以这里做三件事：
   *    1) 迟滞：进入门限 1×db，退出门限 3×db，避免在边界反复穿越；
   *    2) 进入保持后位置环输出清零，只剩速度环的阻尼项；
   *    3) 保持期位置环 P 归零，改用一条「慢积分」把保持电流调到刚好够用
   *       （见下面的速度环），慢到电流变化本身激不起抖动。
   *       这一条是最关键的：刚进保持时 i_term 是「刚好顶开静摩擦」的
   *       电流，远大于维持静止所需。如果只是把它冻住，它会继续推着
   *       电机往外爬——实测 0.2°、周期 700ms 的粘滑极限环就是这么来的。
   *       衰减之后电流降到「推不动」的水平，电机靠静摩擦停住，真的不动。
   *
   *  迟滞的代价：如果负载力矩变了，位置会先漂到 3×db 才被纠正，
   *  纠完再重新进保持。这是一次很慢、很小的修正，不是持续抖动。
   * ====================================================================*/
  if (!prof_done)
  {
    hold_state = 0;                 /* 参考还在动，谈不上保持 */
  }
  else
  {
    float db_in  = pos_db * (float)POS_PER_REV / 360.0f;
    float db_out = db_in * 3.0f;

    if (!hold_state)
    {
      if (fabsf(ref_err) < db_in)
      {
        hold_state = 1;
        i_term    *= hold_rt;       /* 先把「顶开静摩擦」的多余电流砍掉 */
      }
    }
    else if (fabsf(ref_err) > db_out)
    {
      hold_state = 0;               /* 被推出去超过迟滞带，重新接管 */
    }
  }

  if (hold_state)
  {
    /* 保持期：位置环 P 不动作（否则小误差下的 P 输出会直接激起极限环），
     * 只留一条「慢积分」把保持电流调到刚好够用。
     * 慢是关键：电流变化率被 hold_rmax 卡住，一次过冲不超过静摩擦，
     * 电机就一直被摩擦锁在原地，真的不动 */
    float de = hold_ki * ref_err;
    if (de >  hold_rmax) de =  hold_rmax;
    if (de < -hold_rmax) de = -hold_rmax;
    i_term += de;

    if (i_term >  i_max) i_term =  i_max;
    if (i_term < -i_max) i_term = -i_max;

    ref_err = 0.0f;                 /* 位置环输出归零，只剩阻尼项和这个保持电流 */
  }

  pos_err = (float)target_cnt - (float)out_cnt32;   /* 给波形看真实误差（1/16 count） */

  float cmd_f = pos_Kp * ref_err + pos_Kd * (ref_vel - (float)su_du);

  if (cmd_f >  speed_max) cmd_f =  speed_max;
  if (cmd_f < -speed_max) cmd_f = -speed_max;

  speed_cmd = (int16_t)cmd_f;

  /* ======================================================================
   *  4. 速度环（内环）：PID + 速度前馈
   *  ---------------------------------------------------------------------
   *  P：响应速度，差多少给多少电流
   *  D：抑制超调。这里对「实测转速」求导，而不是对误差求导——
   *     两者在目标不变时完全等价，但目标一跳变，误差求导会打出一记
   *     与目标跳变量成正比的电流尖峰（derivative kick），
   *     实测求导则完全不受目标变化影响，冲击小得多。
   *  I：消稳态余差。纯 PD 要维持一个电流顶住摩擦，而这个电流只能来自
   *     "转速误差 × Kp"，所以误差永远消不到 0，位置也就停不到目标上。
   *     积分把历史上攒下的误差记住，慢慢把电流补上去。
   *  Kf：速度前馈，按目标转速直接给一份电流。默认 0（关闭），
   *     等实测出摩擦量级后再开，能把积分项的负担卸掉大半，到位更快。
   * ====================================================================*/
  int16_t err_v = (int16_t)(speed_cmd - su_du);

  float p_term = speed_Kp * (float)err_v;
  float d_term = -speed_Kd * (float)(su_du - speed_prev);
  speed_prev   = su_du;

  /* 积分累加，并且单独限幅。
   * 只靠后面的总限幅不够：积分一旦累到 8000，目标变了要退很久才降得下来，
   * 表现就是"该停的时候停不住、冲过头"。
   *
   * 到位保持期间不走这条快速积分（改由上面的慢积分接管）：
   * 静止时速度误差迟迟消不掉，积分会一直往同方向攒，攒过静摩擦就蹦一下——
   * 不再累加等于把这个循环从源头断掉 */
  if (!hold_state)
  {
    i_term += speed_Ki * (float)err_v;

    if (i_term >  i_max) i_term =  i_max;
    if (i_term < -i_max) i_term = -i_max;
  }

  float cur_cmd = p_term + d_term + i_term + speed_Kf * (float)speed_cmd;

  /* 抗积分饱和：输出已经顶到限幅，误差还在往同方向推，
   * 这时继续积分毫无意义，只会在退出饱和时多冲一段。
   * 把这一拍的累加撤回去——注意是"撤销"而不是"跳过"，
   * 因为累加动作已经执行了，撤销才等价于这一拍没积分 */
  if (!hold_state)
  {
    if (cur_cmd > cur_max)
    {
      cur_cmd = cur_max;
      i_term -= speed_Ki * (float)err_v;
    }
    else if (cur_cmd < -cur_max)
    {
      cur_cmd = -cur_max;
      i_term -= speed_Ki * (float)err_v;
    }
  }

  cur_out = (int16_t)cur_cmd;       /* 留一份给调试器看 */
  C620_SendCurrent(cur_out);
}

/**
  * @brief  向 C620 电调发送电流指令
  * @param  current 电流指令，范围 -16384 ~ 16384，对应 -20A ~ +20A
  * @note   0x200 这一帧的 8 个字节按顺序分给 4 个电机：
  *           data[0..1] = 电机1   data[2..3] = 电机2
  *           data[4..5] = 电机3   data[6..7] = 电机4
  *         本工程电机挂在第 3 个槽位，所以只填 data[4]、data[5]。
  *         每个值都是大端（高字节在前）。
  *         发送邮箱满了就直接丢这一拍，等下次再发，避免阻塞控制环。
  */
static void C620_SendCurrent(int16_t current)
{
  uint8_t data[8] = {0};

  if (HAL_CAN_GetTxMailboxesFreeLevel(&hcan1) == 0)
  {
    return;                        /* 三个邮箱都占着，这一拍放弃 */
  }

  data[4] = (uint8_t)((uint16_t)current >> 8);      /* 高字节 */
  data[5] = (uint8_t)((uint16_t)current & 0xFF);    /* 低字节 */

  txHeader.StdId              = C620_TX_ID;
  txHeader.ExtId              = 0;
  txHeader.RTR                = CAN_RTR_DATA;
  txHeader.IDE                = CAN_ID_STD;
  txHeader.DLC                = 8;
  txHeader.TransmitGlobalTime = DISABLE;

  (void)HAL_CAN_AddTxMessage(&hcan1, &txHeader, data, &txMailbox);
}

/**
  * @brief  波形输出（JustFloat 协议）
  * @note   每个通道 4 字节小端 float，末尾 4 字节 00 00 80 7F 是帧尾
  *         （即 float 的 +Inf，位模式 0x7F800000 的小端写法）。
  *         VOFA+ 靠这个帧尾切分数据，字节顺序写反了就一个点都画不出来。
  *
  *         通道组用串口命令 "$wave=N!" 切换，VOFA+ 那边始终只配 2 个通道，
  *         不用改任何设置：
  *           wave=0  位置误差(°)  + 实际角度(°)      ← 看收敛、超调、稳态余差
  *           wave=1  速度指令(rpm) + 实测速度(rpm)    ← 看内环跟不跟得上
  *           wave=2  参考位置(°)   + 实际位置(°)      ← 看轨迹跟踪的滞后
  *           wave=3  电流指令(count) + 实测转速(rpm)  ← 看电流是否饱和、量摩擦
  *
  *         发送用中断方式，不阻塞控制环。
  *         否则 12 字节 @115200 要 1.04ms，会把 1ms 的控制节拍顶歪，
  *         积分增益也就跟着失真了。
  *         uart_busy 由 HAL_UART_TxCpltCallback 清零。
  */
static void Waveform_Send(void)
{
  if (uart_busy)
  {
    return;                        /* 上一帧还没发完，jf 不能动 */
  }

  const float fine2deg = 360.0f / (float)POS_PER_REV;   /* 1/16 count -> 度 */
  const float cnt2deg  = 360.0f / (float)ENC_PER_REV;   /* 输出 count -> 度 */
  float c0;
  float c1;

  switch ((int)wave_sel)
  {
    case 1:                        /* 内环：速度指令 vs 实测 */
      c0 = (float)speed_cmd;
      c1 = (float)su_du;
      break;

    case 2:                        /* 轨迹：参考 vs 实际 */
      c0 = ref_pos * fine2deg;
      c1 = (float)out_cnt32 * fine2deg;
      break;

    case 3:                        /* 电流指令 vs 实测转速：看是否饱和、量摩擦 */
      c0 = (float)cur_out;
      c1 = (float)su_du;
      break;

    case 4:                        /* 积分项 vs 总电流：看保持时积分占多少 */
      c0 = i_term;
      c1 = (float)cur_out;
      break;

    default:                       /* 外环：误差 vs 实际角度 */
      c0 = pos_err * fine2deg;
      c1 = (float)out_angle * cnt2deg;
      break;
  }

  memcpy(&jf[0], &c0, 4);
  memcpy(&jf[4], &c1, 4);
  jf[8]  = 0x00;
  jf[9]  = 0x00;
  jf[10] = 0x80;
  jf[11] = 0x7F;

  uart_busy = 1;
  if (HAL_UART_Transmit_IT(&huart1, jf, sizeof(jf)) != HAL_OK)
  {
    uart_busy = 0;                 /* 启动失败，下一拍重试 */
  }
}

/**
  * @brief  控制任务：固定 CTRL_PERIOD_MS 节拍
  * @note   三步顺序不能换：先取反馈，再更新角度，最后才算控制量。
  *         任务函数绝不能 return（会进 prvTaskExitError 关中断死循环），
  *         所以外层必须是 for(;;)，末尾用 vTaskDelayUntil 让出 CPU。
  */
void out(void *argument)
{
  (void)argument;

  const TickType_t xPeriod = pdMS_TO_TICKS(CTRL_PERIOD_MS);
  TickType_t xLastWakeTime = xTaskGetTickCount();

  for (;;)
  {
    ReadMotorFeedback();
    UpdateOutputAngle();
    Control_Step();

    vTaskDelayUntil(&xLastWakeTime, xPeriod);
  }
}

/**
  * @brief  波形任务：固定 JF_PERIOD_MS 节拍
  * @note   与控制任务共用 pos_err / out_angle / ref_pos，前者都是 16 位，
  *         在 Cortex-M4 上读写是原子的；ref_pos 是 float，同样是单字访问。
  *         读到的可能是上一拍的值，对波形显示没有影响。
  */
void fa_song(void *argument)
{
  (void)argument;

  const TickType_t xPeriod = pdMS_TO_TICKS(JF_PERIOD_MS);
  TickType_t xLastWakeTime = xTaskGetTickCount();

  for (;;)
  {
    Waveform_Send();

    vTaskDelayUntil(&xLastWakeTime, xPeriod);
  }
}

/* USER CODE END 0 */

int main(void)
{

  /* MCU Configuration--------------------------------------------------------*/

  /* Reset of all peripherals, Initializes the Flash interface and the Systick. */
  HAL_Init();

  /* Configure the system clock */
  SystemClock_Config();

  /* Initialize all configured peripherals */
  MX_GPIO_Init();
  MX_DMA_Init();
  MX_CAN1_Init();
  MX_USART1_UART_Init();
  /* USER CODE BEGIN 2 */
  /* 过滤器必须在 Start 之前配好，否则第一帧收不到 */
  CAN_Filter_Config();
  if (HAL_CAN_Start(&hcan1) != HAL_OK) { Error_Handler(); }

  /* 打开串口单字节中断接收，之后靠回调一个字节一个字节攒命令帧 */
  HAL_UART_Receive_IT(&huart1, &rxByte, 1);

  if (xTaskCreate(out,     "ctrl", 256, NULL, 2, NULL) != pdPASS) { Error_Handler(); }
  if (xTaskCreate(fa_song, "wave", 256, NULL, 1, NULL) != pdPASS) { Error_Handler(); }

  /* USER CODE END 2 */

  /* Call init function for freertos objects (in cmsis_os2.c) */
  MX_FREERTOS_Init();

  /* Start scheduler */
  osKernelStart();

  /* We should never get here as control is now taken by the scheduler */

  /* Infinite loop */
  while (1)
  {

  }
}

void SystemClock_Config(void)
{
  RCC_OscInitTypeDef RCC_OscInitStruct = {0};
  RCC_ClkInitTypeDef RCC_ClkInitStruct = {0};

  /** Configure the main internal regulator output voltage
  */
  __HAL_RCC_PWR_CLK_ENABLE();
  __HAL_PWR_VOLTAGESCALING_CONFIG(PWR_REGULATOR_VOLTAGE_SCALE1);

  /** Initializes the RCC Oscillators according to the specified parameters
  * in the RCC_OscInitTypeDef structure.
  */
  RCC_OscInitStruct.OscillatorType = RCC_OSCILLATORTYPE_HSE;
  RCC_OscInitStruct.HSEState = RCC_HSE_ON;
  RCC_OscInitStruct.PLL.PLLState = RCC_PLL_ON;
  RCC_OscInitStruct.PLL.PLLSource = RCC_PLLSOURCE_HSE;
  RCC_OscInitStruct.PLL.PLLM = 25;
  RCC_OscInitStruct.PLL.PLLN = 336;
  RCC_OscInitStruct.PLL.PLLP = RCC_PLLP_DIV2;
  RCC_OscInitStruct.PLL.PLLQ = 4;
  if (HAL_RCC_OscConfig(&RCC_OscInitStruct) != HAL_OK)
  {
    Error_Handler();
  }

  /** Initializes the CPU, AHB and APB buses clocks
  */
  RCC_ClkInitStruct.ClockType = RCC_CLOCKTYPE_HCLK|RCC_CLOCKTYPE_SYSCLK
                              |RCC_CLOCKTYPE_PCLK1|RCC_CLOCKTYPE_PCLK2;
  RCC_ClkInitStruct.SYSCLKSource = RCC_SYSCLKSOURCE_PLLCLK;
  RCC_ClkInitStruct.AHBCLKDivider = RCC_SYSCLK_DIV1;
  RCC_ClkInitStruct.APB1CLKDivider = RCC_HCLK_DIV4;
  RCC_ClkInitStruct.APB2CLKDivider = RCC_HCLK_DIV2;

  if (HAL_RCC_ClockConfig(&RCC_ClkInitStruct, FLASH_LATENCY_5) != HAL_OK)
  {
    Error_Handler();
  }
}

/* USER CODE BEGIN 4 */

/**
  * @brief  串口接收完成回调（每收到 1 个字节触发一次）
  * @param  huart 触发中断的串口句柄
  * @note   HAL_UART_Receive_IT 是"收一个字节进一次中断"的模式，
  *         所以这里要自己攒帧：攒到 '!' 就交给 Parse_Frame 解析，然后清空。
  *         末尾必须重新调用 HAL_UART_Receive_IT，否则下次不会再进中断。
  */
void HAL_UART_RxCpltCallback(UART_HandleTypeDef *huart)
{
  if (huart->Instance == USART1)
  {
    /* 帧首字符决定这一帧怎么解析：'$' 是参数命令，'=' 是角度命令。
     *
     * 遇到 '=' 要丢掉之前的残帧，否则丢帧后两帧会粘成 "=18=90!"，
     * 被当成 18 解析，目标角悄悄变成错的。
     * 但正在收 "$posKp=8!" 时不能因为 '=' 就清空，否则名字被吃掉，
     * 参数永远匹配不上——所以先看一眼缓冲区开头是不是 '$' */
    if (rxByte == '$')
    {
      rxLen = 0;
    }
    else if ((rxByte == '=') && !((rxLen > 0) && (rxBuf[0] == '$')))
    {
      rxLen = 0;
    }

    if (rxLen < sizeof(rxBuf))
    {
      rxBuf[rxLen++] = rxByte;              /* 攒字节，防止缓冲写爆 */
    }

    if (rxByte == '!')                      /* 收到帧尾，解析这一帧 */
    {
      Parse_Frame(rxBuf, rxLen);
      rxLen = 0;
    }
    else if (rxLen >= sizeof(rxBuf))        /* 攒满还没等到 '!'，说明是垃圾数据 */
    {
      rxLen = 0;
    }

    HAL_UART_Receive_IT(&huart1, &rxByte, 1);   /* 重新开启接收，这行不能省 */
  }
}

/**
  * @brief  串口发送完成回调（波形发完触发一次）
  * @param  huart 触发中断的串口句柄
  * @note   波形用 HAL_UART_Transmit_IT 发送，发完在这里清忙标志。
  *         jf[] 在发送期间不能改，所以填数据前必须等这个标志清零。
  */
void HAL_UART_TxCpltCallback(UART_HandleTypeDef *huart)
{
  if (huart->Instance == USART1)
  {
    uart_busy = 0;
  }
}

/* USER CODE END 4 */

void Error_Handler(void)
{
  __disable_irq();
  while (1)
  {
  }
}

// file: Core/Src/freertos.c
/* USER CODE BEGIN Header */
/**
  ******************************************************************************
  * File Name          : freertos.c
  * Description        : Code for freertos applications
  ******************************************************************************
  * @attention
  *
  * Copyright (c) 2026 STMicroelectronics.
  * All rights reserved.
  *
  * This software is licensed under terms that can be found in the LICENSE file
  * in the root directory of this software component.
  * If no LICENSE file comes with this software, it is provided AS-IS.
  *
  ******************************************************************************
  */
/* USER CODE END Header */

#include "FreeRTOS.h"
#include "task.h"
#include "main.h"
#include "cmsis_os.h"

osThreadId defaultTaskHandle;

void StartDefaultTask(void const * argument);

void MX_FREERTOS_Init(void); /* (MISRA C 2004 rule 8.1) */

/* GetIdleTaskMemory prototype (linked to static allocation support) */
void vApplicationGetIdleTaskMemory( StaticTask_t **ppxIdleTaskTCBBuffer, StackType_t **ppxIdleTaskStackBuffer, uint32_t *pulIdleTaskStackSize );

/* USER CODE BEGIN GET_IDLE_TASK_MEMORY */
static StaticTask_t xIdleTaskTCBBuffer;
static StackType_t xIdleStack[configMINIMAL_STACK_SIZE];

void vApplicationGetIdleTaskMemory( StaticTask_t **ppxIdleTaskTCBBuffer, StackType_t **ppxIdleTaskStackBuffer, uint32_t *pulIdleTaskStackSize )
{
  *ppxIdleTaskTCBBuffer = &xIdleTaskTCBBuffer;
  *ppxIdleTaskStackBuffer = &xIdleStack[0];
  *pulIdleTaskStackSize = configMINIMAL_STACK_SIZE;
  /* place for user code */
}
/* USER CODE END GET_IDLE_TASK_MEMORY */

void MX_FREERTOS_Init(void) {

  /* Create the thread(s) */
  /* definition and creation of defaultTask */
  osThreadDef(defaultTask, StartDefaultTask, osPriorityNormal, 0, 128);
  defaultTaskHandle = osThreadCreate(osThread(defaultTask), NULL);

}

void StartDefaultTask(void const * argument)
{
  for(;;)
  {
    osDelay(1);
  }
}

/* USER CODE BEGIN Application */
/**
  * @brief  栈溢出钩子（configCHECK_FOR_STACK_OVERFLOW == 2 时由内核调用）
  * @param  xTask       溢出任务的句柄
  * @param  pcTaskName  溢出任务的名字
  * @note   停在这里不返回，把任务名留在 ulOverflowTaskName 里，
  *         调试时直接看这个变量就知道是哪个任务栈不够。
  */
volatile const char *ulOverflowTaskName = NULL;

void vApplicationStackOverflowHook(TaskHandle_t xTask, char *pcTaskName)
{
  (void)xTask;

  ulOverflowTaskName = pcTaskName;   /* 断点打在这行之后，看它指向谁 */

  taskDISABLE_INTERRUPTS();
  for (;;)
  {
  }
}

/* USER CODE END Application */
